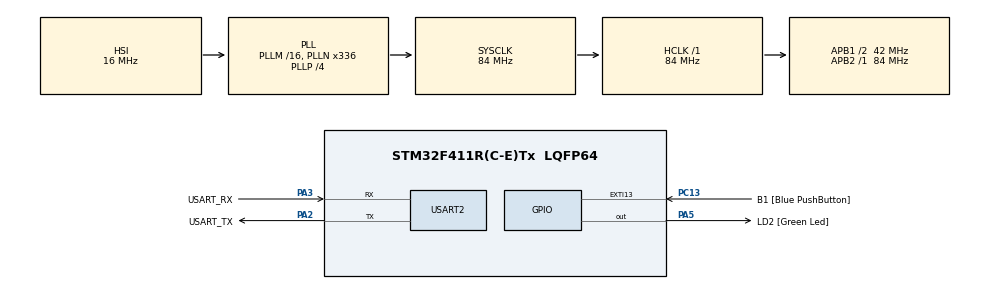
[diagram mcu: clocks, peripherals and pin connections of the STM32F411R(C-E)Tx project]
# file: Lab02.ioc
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Mcu.Family=STM32F4
Mcu.Name=STM32F411R(C-E)Tx
Mcu.Package=LQFP64
NVIC.PriorityGroup=NVIC_PRIORITYGROUP_0
NVIC.USART2_IRQn=true\:0\:0\:false\:false\:true\:true\:true\:true
PA13.GPIO_Label=TMS
PA13.Mode=Serial_Wire
PA13.Signal=SYS_JTMS-SWDIO
PA14.GPIO_Label=TCK
PA14.Mode=Serial_Wire
PA14.Signal=SYS_JTCK-SWCLK
PA2.GPIO_Label=USART_TX
PA2.Mode=Asynchronous
PA2.Signal=USART2_TX
PA3.GPIO_Label=USART_RX
PA3.Mode=Asynchronous
PA3.Signal=USART2_RX
PA5.GPIO_Label=LD2 [Green Led]
PA5.Signal=GPIO_Output
PB3.GPIO_Label=SWO
PB3.Signal=SYS_JTDO-SWO
PC13-ANTI_TAMP.GPIO_Label=B1 [Blue PushButton]
PC13-ANTI_TAMP.GPIO_ModeDefaultEXTI=GPIO_MODE_IT_FALLING
PC13-ANTI_TAMP.Signal=GPXTI13
PC14-OSC32_IN.Mode=LSE-External-Oscillator
PC14-OSC32_IN.Signal=RCC_OSC32_IN
PC15-OSC32_OUT.Mode=LSE-External-Oscillator
PC15-OSC32_OUT.Signal=RCC_OSC32_OUT
PH0\ -\ OSC_IN.Mode=HSE-External-Clock-Source
PH0\ -\ OSC_IN.Signal=RCC_OSC_IN
PH1\ -\ OSC_OUT.Mode=HSE-External-Clock-Source
PH1\ -\ OSC_OUT.Signal=RCC_OSC_OUT
ProjectManager.HeapSize=0x200
ProjectManager.StackSize=0x400
ProjectManager.TargetToolchain=STM32CubeIDE
RCC.48MHZClocksFreq_Value=84000000
RCC.AHBFreq_Value=84000000
RCC.APB1CLKDivider=RCC_HCLK_DIV2
RCC.APB1Freq_Value=42000000
RCC.APB1TimFreq_Value=84000000
RCC.APB2Freq_Value=84000000
RCC.APB2TimFreq_Value=84000000
RCC.CortexFreq_Value=84000000
RCC.FLatency-AdvancedSettings=FLASH_LATENCY_2
RCC.HCLKFreq_Value=84000000
RCC.HSE_VALUE=8000000
RCC.HSI_VALUE=16000000
RCC.PLLN=336
RCC.PLLP=RCC_PLLP_DIV4
RCC.SYSCLKFreq_VALUE=84000000
RCC.SYSCLKSource=RCC_SYSCLKSOURCE_PLLCLK
RCC.VCOOutputFreq_Value=336000000
USART2.VirtualMode=VM_ASYNC
board=NUCLEO-F411RE

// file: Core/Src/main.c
/* USER CODE BEGIN Header */
/**
 ******************************************************************************
 * @file           : main.c
 * @brief          : Main program body
 ******************************************************************************
 * @attention
 *
 * Copyright (c) 2024 STMicroelectronics.
 * All rights reserved.
 *
 * This software is licensed under terms that can be found in the LICENSE file
 * in the root directory of this software component.
 * If no LICENSE file comes with this software, it is provided AS-IS.
 *
 ******************************************************************************
 */
/* USER CODE END Header */
#include "main.h"

UART_HandleTypeDef huart2;

/* USER CODE BEGIN PV */

uint8_t ON_COMMAND[] = "on\n";
uint8_t OFF_COMMAND[] = "off\n";

uint8_t ON_MESSAGE[] = "Command on Received!\n";
uint16_t ON_MESSAGE_SIZE = (uint16_t) sizeof(ON_MESSAGE);
uint8_t OFF_MESSAGE[] = "Command off Received!\n";
uint16_t OFF_MESSAGE_SIZE = (uint16_t) sizeof(OFF_MESSAGE);
uint8_t INVALID_MESSAGE[] = "Invalid command!\n";
uint16_t INVALID_MESSAGE_SIZE = (uint16_t) sizeof(OFF_MESSAGE);

/* USER CODE END PV */

void SystemClock_Config(void);
static void MX_GPIO_Init(void);
static void MX_USART2_UART_Init(void);

/* USER CODE BEGIN 0 */
char UART_data[100];

/* USER CODE END 0 */

int main(void)
{

  /* MCU Configuration--------------------------------------------------------*/

  /* Reset of all peripherals, Initializes the Flash interface and the Systick. */
  HAL_Init();

  /* Configure the system clock */
  SystemClock_Config();

  /* Initialize all configured peripherals */
  MX_GPIO_Init();
  MX_USART2_UART_Init();
  /* USER CODE BEGIN 2 */

	// Reset GPIO LED TO Low
	HAL_GPIO_WritePin(GPIOA, GPIO_PIN_5, GPIO_PIN_SET);
	HAL_UART_Transmit_IT(&huart2, INVALID_MESSAGE,
						INVALID_MESSAGE_SIZE);

  /* USER CODE END 2 */

  /* Infinite loop */
	while (1) {

    /* USER CODE BEGIN 3 */
		uint8_t DATA[100] = { 0 };
		HAL_UART_Receive(&huart2, DATA, 100, 50);
		if (DATA[0] == 'o' && DATA[1] == 'n' && DATA[2] == '\n') {
			HAL_UART_Transmit_IT(&huart2, ON_MESSAGE, ON_MESSAGE_SIZE);
			HAL_GPIO_WritePin(GPIOA, GPIO_PIN_5, GPIO_PIN_SET);
		}

		else if (DATA[0] == 'o' && DATA[1] == 'f' && DATA[2] == 'f'
				&& DATA[3] == '\n') {
			HAL_UART_Transmit_IT(&huart2, OFF_MESSAGE, OFF_MESSAGE_SIZE);
			HAL_GPIO_WritePin(GPIOA, GPIO_PIN_5, GPIO_PIN_RESET);
		} else if (DATA[0] != 0x0) {
			HAL_UART_Transmit_IT(&huart2, INVALID_MESSAGE,
					INVALID_MESSAGE_SIZE);
		}

	}
  /* USER CODE END 3 */
}

void SystemClock_Config(void)
{
  RCC_OscInitTypeDef RCC_OscInitStruct = {0};
  RCC_ClkInitTypeDef RCC_ClkInitStruct = {0};

  /** Configure the main internal regulator output voltage
  */
  __HAL_RCC_PWR_CLK_ENABLE();
  __HAL_PWR_VOLTAGESCALING_CONFIG(PWR_REGULATOR_VOLTAGE_SCALE1);

  /** Initializes the RCC Oscillators according to the specified parameters
  * in the RCC_OscInitTypeDef structure.
  */
  RCC_OscInitStruct.OscillatorType = RCC_OSCILLATORTYPE_HSI;
  RCC_OscInitStruct.HSIState = RCC_HSI_ON;
  RCC_OscInitStruct.HSICalibrationValue = RCC_HSICALIBRATION_DEFAULT;
  RCC_OscInitStruct.PLL.PLLState = RCC_PLL_ON;
  RCC_OscInitStruct.PLL.PLLSource = RCC_PLLSOURCE_HSI;
  RCC_OscInitStruct.PLL.PLLM = 16;
  RCC_OscInitStruct.PLL.PLLN = 336;
  RCC_OscInitStruct.PLL.PLLP = RCC_PLLP_DIV4;
  RCC_OscInitStruct.PLL.PLLQ = 4;
  if (HAL_RCC_OscConfig(&RCC_OscInitStruct) != HAL_OK)
  {
    Error_Handler();
  }

  /** Initializes the CPU, AHB and APB buses clocks
  */
  RCC_ClkInitStruct.ClockType = RCC_CLOCKTYPE_HCLK|RCC_CLOCKTYPE_SYSCLK
                              |RCC_CLOCKTYPE_PCLK1|RCC_CLOCKTYPE_PCLK2;
  RCC_ClkInitStruct.SYSCLKSource = RCC_SYSCLKSOURCE_PLLCLK;
  RCC_ClkInitStruct.AHBCLKDivider = RCC_SYSCLK_DIV1;
  RCC_ClkInitStruct.APB1CLKDivider = RCC_HCLK_DIV2;
  RCC_ClkInitStruct.APB2CLKDivider = RCC_HCLK_DIV1;

  if (HAL_RCC_ClockConfig(&RCC_ClkInitStruct, FLASH_LATENCY_2) != HAL_OK)
  {
    Error_Handler();
  }
}

static void MX_USART2_UART_Init(void)
{

  huart2.Instance = USART2;
  huart2.Init.BaudRate = 115200;
  huart2.Init.WordLength = UART_WORDLENGTH_8B;
  huart2.Init.StopBits = UART_STOPBITS_1;
  huart2.Init.Parity = UART_PARITY_NONE;
  huart2.Init.Mode = UART_MODE_TX_RX;
  huart2.Init.HwFlowCtl = UART_HWCONTROL_NONE;
  huart2.Init.OverSampling = UART_OVERSAMPLING_16;
  if (HAL_UART_Init(&huart2) != HAL_OK)
  {
    Error_Handler();
  }

}

static void MX_GPIO_Init(void)
{
  GPIO_InitTypeDef GPIO_InitStruct = {0};

  /* GPIO Ports Clock Enable */
  __HAL_RCC_GPIOC_CLK_ENABLE();
  __HAL_RCC_GPIOH_CLK_ENABLE();
  __HAL_RCC_GPIOA_CLK_ENABLE();
  __HAL_RCC_GPIOB_CLK_ENABLE();

  /*Configure GPIO pin Output Level */
  HAL_GPIO_WritePin(LD2_GPIO_Port, LD2_Pin, GPIO_PIN_RESET);

  /*Configure GPIO pin : B1_Pin */
  GPIO_InitStruct.Pin = B1_Pin;
  GPIO_InitStruct.Mode = GPIO_MODE_IT_FALLING;
  GPIO_InitStruct.Pull = GPIO_NOPULL;
  HAL_GPIO_Init(B1_GPIO_Port, &GPIO_InitStruct);

  /*Configure GPIO pin : LD2_Pin */
  GPIO_InitStruct.Pin = LD2_Pin;
  GPIO_InitStruct.Mode = GPIO_MODE_OUTPUT_PP;
  GPIO_InitStruct.Pull = GPIO_NOPULL;
  GPIO_InitStruct.Speed = GPIO_SPEED_FREQ_LOW;
  HAL_GPIO_Init(LD2_GPIO_Port, &GPIO_InitStruct);

}

void Error_Handler(void)
{
	__disable_irq();
	while (1) {
	}
}
